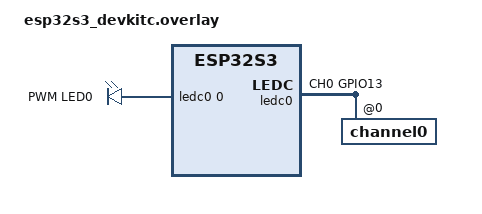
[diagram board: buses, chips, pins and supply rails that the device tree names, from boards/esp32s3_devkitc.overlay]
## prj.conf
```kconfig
CONFIG_LOG=y
CONFIG_PWM=y

CONFIG_LOG=y
CONFIG_PWM_LOG_LEVEL_DBG=y
```

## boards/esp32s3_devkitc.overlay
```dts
#include <zephyr/dt-bindings/pwm/pwm.h>

/ {
	aliases {
		pwm-0 = &ledc0;
		pwm-led0 = &pwm_led_blue;
	};

	pwmleds {
		compatible = "pwm-leds";
		pwm_led_blue: pwm_led_gpio0_13 {
			label = "PWM LED0";
			pwms = <&ledc0 0 1000 PWM_POLARITY_NORMAL>;
		};
	};
};

&pinctrl {
	ledc0_default: ledc0_default {
		group1 {
			pinmux = <LEDC_CH0_GPIO13>;
			output-enable;
		};
	};
};

&ledc0 {
	pinctrl-0 = <&ledc0_default>;
	pinctrl-names = "default";
	status = "okay";
	#address-cells = <1>;
	#size-cells = <0>;
	channel0@0 {
		reg = <0x0>;
		timer = <0>;
		resolution = <13>;  // Optional: if supported by DTS
	};
};
```

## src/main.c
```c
#include <zephyr/kernel.h>
#include <zephyr/device.h>
#include <zephyr/drivers/pwm.h>
#include <zephyr/logging/log.h>
#include <zephyr/sys/printk.h>


#define PWM_CTLR_NODE DT_ALIAS(pwm_led0)

#if !DT_NODE_HAS_STATUS(PWM_CTLR_NODE, okay)
#error "Unsupported board: pwmled0 devicetree alias is not defined"
#endif

static const struct pwm_dt_spec pwm_led = PWM_DT_SPEC_GET(PWM_CTLR_NODE);

int main(void)
{
    k_sleep(K_SECONDS(10)); 
    // Set duty cycle PWM signal
    uint32_t period = 5000U;     // 5000 microseconds = 200Hz
    uint32_t pulse_width = 500U; // 500 microseconds => duty cycle = 10%

    if (!device_is_ready(pwm_led.dev)) {
        printk("PWM device is not ready");
        return 0;
    }

    // Start transmitting PWM signal
    printk("Starting PWM on target device...\n");
    int ret = pwm_set_dt(&pwm_led, PWM_USEC(period), PWM_USEC(pulse_width));
    if (ret) {
        printk("Failed to set PWM: %d", ret);
    } else {
        printk("PWM set: period = %u us, pulse = %u us", period, pulse_width);
    }
}
```
